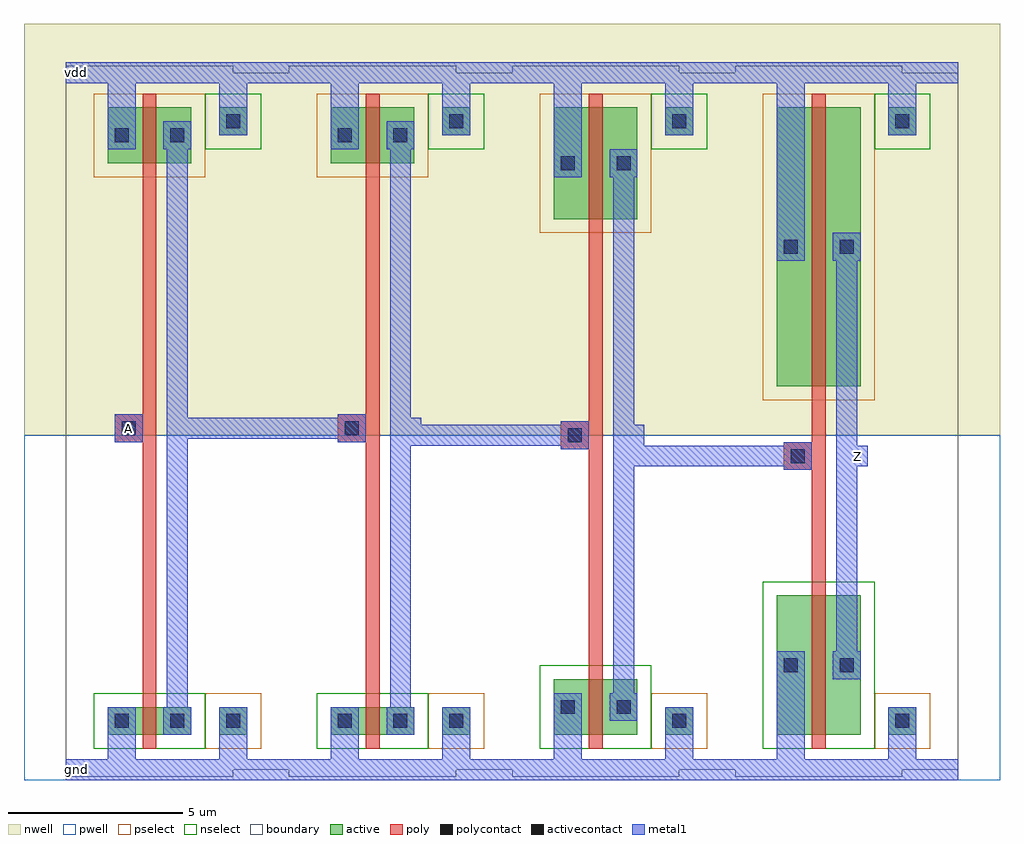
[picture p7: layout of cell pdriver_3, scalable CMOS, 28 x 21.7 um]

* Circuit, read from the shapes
.subckt pdriver_3 A Z gnd vdd
M1 pinv_4_1/A A gnd gnd nfet w=0.8u l=0.4u
M2 pinv_2_2/A pinv_4_1/A gnd gnd nfet w=0.8u l=0.4u
M3 pinv_5_3/A pinv_2_2/A gnd gnd nfet w=1.6u l=0.4u
M4 Z pinv_5_3/A gnd gnd nfet w=4u l=0.4u
M5 pinv_4_1/A A vdd vdd pfet w=1.6u l=0.4u
M6 pinv_2_2/A pinv_4_1/A vdd vdd pfet w=1.6u l=0.4u
M7 pinv_5_3/A pinv_2_2/A vdd vdd pfet w=3.2u l=0.4u
M8 Z pinv_5_3/A vdd vdd pfet w=8u l=0.4u
.ends

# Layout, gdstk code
import gdstk
lib = gdstk.Library(unit=1e-6, precision=1e-09)
def R(c, l, rs):  # rectangles x0, y0, x1, y1
    for r in rs: c.add(gdstk.rectangle(r[:2], r[2:], *l))
pwell = (41, 0)
nwell = (42, 0)
active = (43, 0)
pselect = (44, 0)
nselect = (45, 0)
poly = (46, 0)
polycontact = (47, 0)
activecontact = (48, 0)
metal1 = (49, 0)
boundary = (63, 0)

contact_11 = lib.new_cell('contact_11')
R(contact_11, nwell, [(-1.2,-1.2,2,2)])
R(contact_11, active, [(0,0,0.8,0.8)])
R(contact_11, pselect, [(-0.4,-0.4,1.2,1.2)])
R(contact_11, activecontact, [(0.2,0.2,0.6,0.6)])
R(contact_11, metal1, [(0,0,0.8,0.8)])

pmos_m1_w1_600_a_p = lib.new_cell('pmos_m1_w1_600_a_p')
R(pmos_m1_w1_600_a_p, nwell, [(-1.2,-1.2,3.6,2.8)])
R(pmos_m1_w1_600_a_p, active, [(0,0,2.4,1.6)])
R(pmos_m1_w1_600_a_p, pselect, [(-0.4,-0.4,2.8,2)])
R(pmos_m1_w1_600_a_p, poly, [(1,-0.4,1.4,2), (1,-0.4,1.4,2)])
R(pmos_m1_w1_600_a_p, metal1, [(0,0.4,0.8,1.2), (1.6,0.4,2.4,1.2)])
R(pmos_m1_w1_600_a_p, boundary, [(-1.2,-1.2,3.6,2.8)])
pmos_m1_w1_600_a_p.add(gdstk.Reference(contact_11, (0,0.4)))
pmos_m1_w1_600_a_p.add(gdstk.Reference(contact_11, (1.6,0.4)))
pmos_m1_w1_600_a_p.add(gdstk.Label('G', (1.2,0.8), layer=46, texttype=0))
pmos_m1_w1_600_a_p.add(gdstk.Label('S', (0.4,0.8), layer=49, texttype=0))
pmos_m1_w1_600_a_p.add(gdstk.Label('D', (2,0.8), layer=49, texttype=0))

contact_16 = lib.new_cell('contact_16')
R(contact_16, pwell, [(-1.2,-1.2,2,2)])
R(contact_16, active, [(0,0,0.8,0.8)])
R(contact_16, nselect, [(-0.4,-0.4,1.2,1.2)])
R(contact_16, activecontact, [(0.2,0.2,0.6,0.6)])
R(contact_16, metal1, [(0,0,0.8,0.8)])

nmos_m1_w0_800_a_p = lib.new_cell('nmos_m1_w0_800_a_p')
R(nmos_m1_w0_800_a_p, pwell, [(-1.2,-1.2,3.6,2)])
R(nmos_m1_w0_800_a_p, active, [(0,0,2.4,0.8)])
R(nmos_m1_w0_800_a_p, nselect, [(-0.4,-0.4,2.8,1.2)])
R(nmos_m1_w0_800_a_p, poly, [(1,-0.4,1.4,1.2), (1,-0.4,1.4,1.2)])
R(nmos_m1_w0_800_a_p, metal1, [(0,0,0.8,0.8), (1.6,0,2.4,0.8)])
R(nmos_m1_w0_800_a_p, boundary, [(-1.2,-1.2,3.6,2)])
nmos_m1_w0_800_a_p.add(gdstk.Reference(contact_16, (0,0)))
nmos_m1_w0_800_a_p.add(gdstk.Reference(contact_16, (1.6,0)))
nmos_m1_w0_800_a_p.add(gdstk.Label('G', (1.2,0.4), layer=46, texttype=0))
nmos_m1_w0_800_a_p.add(gdstk.Label('S', (0.4,0.4), layer=49, texttype=0))
nmos_m1_w0_800_a_p.add(gdstk.Label('D', (2,0.4), layer=49, texttype=0))

contact_13 = lib.new_cell('contact_13')
R(contact_13, nwell, [(-1.2,-1.2,2,2)])
R(contact_13, active, [(0,0,0.8,0.8)])
R(contact_13, nselect, [(-0.4,-0.4,1.2,1.2)])
R(contact_13, activecontact, [(0.2,0.2,0.6,0.6)])
R(contact_13, metal1, [(0,0,0.8,0.8)])

contact_17 = lib.new_cell('contact_17')
R(contact_17, pwell, [(-1.2,-1.2,2,2)])
R(contact_17, active, [(0,0,0.8,0.8)])
R(contact_17, pselect, [(-0.4,-0.4,1.2,1.2)])
R(contact_17, activecontact, [(0.2,0.2,0.6,0.6)])
R(contact_17, metal1, [(0,0,0.8,0.8)])

contact_12 = lib.new_cell('contact_12')
R(contact_12, poly, [(0,0,0.8,0.8)])
R(contact_12, polycontact, [(0.2,0.2,0.6,0.6)])
R(contact_12, metal1, [(0,0,0.8,0.8)])

pinv_4 = lib.new_cell('pinv_4')
R(pinv_4, pwell, [(-1.2,-0.3,7.6,9.6)])
R(pinv_4, nwell, [(-1.2,9.6,7.6,21.4)])
R(pinv_4, poly, [(2.2,2.2,2.6,17), (1.8,9.4,2.2,10.2)])
R(pinv_4, metal1, [(0,-0.3,6.4,0.3), (1.2,-0.3,2,1), (4.4,0,5.2,1.4), (2.9,1,3.5,18.6), (1.4,9.4,2.2,10.2), (3.2,9.5,3.8,10.1), (1.2,17.8,2,20.3), (4.4,18.6,5.2,20), (0,19.7,6.4,20.3)])
R(pinv_4, boundary, [(0,0,6.4,20)])
pinv_4.add(gdstk.Reference(pmos_m1_w1_600_a_p, (1.2,17.4)))
pinv_4.add(gdstk.Reference(nmos_m1_w0_800_a_p, (1.2,1)))
pinv_4.add(gdstk.Reference(contact_13, (4.4,18.2)))
pinv_4.add(gdstk.Reference(contact_17, (4.4,1)))
pinv_4.add(gdstk.Reference(contact_12, (1.4,9.4)))
pinv_4.add(gdstk.Label('gnd', (3.2,0), layer=49, texttype=0))
pinv_4.add(gdstk.Label('vdd', (3.2,20), layer=49, texttype=0))
pinv_4.add(gdstk.Label('A', (1.8,9.8), layer=49, texttype=0))
pinv_4.add(gdstk.Label('Z', (3.5,9.8), layer=49, texttype=0))

pmos_m1_w3_200_a_p = lib.new_cell('pmos_m1_w3_200_a_p')
R(pmos_m1_w3_200_a_p, nwell, [(-1.2,-1.2,3.6,4.4)])
R(pmos_m1_w3_200_a_p, active, [(0,0,2.4,3.2)])
R(pmos_m1_w3_200_a_p, pselect, [(-0.4,-0.4,2.8,3.6)])
R(pmos_m1_w3_200_a_p, poly, [(1,-0.4,1.4,3.6), (1,-0.4,1.4,3.6)])
R(pmos_m1_w3_200_a_p, metal1, [(0,1.2,0.8,2), (1.6,1.2,2.4,2)])
R(pmos_m1_w3_200_a_p, boundary, [(-1.2,-1.2,3.6,4.4)])
pmos_m1_w3_200_a_p.add(gdstk.Reference(contact_11, (0,1.2)))
pmos_m1_w3_200_a_p.add(gdstk.Reference(contact_11, (1.6,1.2)))
pmos_m1_w3_200_a_p.add(gdstk.Label('G', (1.2,1.6), layer=46, texttype=0))
pmos_m1_w3_200_a_p.add(gdstk.Label('S', (0.4,1.6), layer=49, texttype=0))
pmos_m1_w3_200_a_p.add(gdstk.Label('D', (2,1.6), layer=49, texttype=0))

nmos_m1_w1_600_a_p = lib.new_cell('nmos_m1_w1_600_a_p')
R(nmos_m1_w1_600_a_p, pwell, [(-1.2,-1.2,3.6,2.8)])
R(nmos_m1_w1_600_a_p, active, [(0,0,2.4,1.6)])
R(nmos_m1_w1_600_a_p, nselect, [(-0.4,-0.4,2.8,2)])
R(nmos_m1_w1_600_a_p, poly, [(1,-0.4,1.4,2), (1,-0.4,1.4,2)])
R(nmos_m1_w1_600_a_p, metal1, [(0,0.4,0.8,1.2), (1.6,0.4,2.4,1.2)])
R(nmos_m1_w1_600_a_p, boundary, [(-1.2,-1.2,3.6,2.8)])
nmos_m1_w1_600_a_p.add(gdstk.Reference(contact_16, (0,0.4)))
nmos_m1_w1_600_a_p.add(gdstk.Reference(contact_16, (1.6,0.4)))
nmos_m1_w1_600_a_p.add(gdstk.Label('G', (1.2,0.8), layer=46, texttype=0))
nmos_m1_w1_600_a_p.add(gdstk.Label('S', (0.4,0.8), layer=49, texttype=0))
nmos_m1_w1_600_a_p.add(gdstk.Label('D', (2,0.8), layer=49, texttype=0))

pinv_2 = lib.new_cell('pinv_2')
R(pinv_2, pwell, [(-1.2,-0.3,7.6,9.6)])
R(pinv_2, nwell, [(-1.2,9.6,7.6,21.4)])
R(pinv_2, poly, [(2.2,3,2.6,15.4), (1.8,9.2,2.2,10)])
R(pinv_2, metal1, [(0,-0.3,6.4,0.3), (1.2,-0.3,2,1.4), (4.4,0,5.2,1.4), (2.9,1.4,3.5,17.8), (1.4,9.2,2.2,10), (3.2,9.3,3.8,9.9), (1.2,17,2,20.3), (4.4,18.6,5.2,20), (0,19.7,6.4,20.3)])
R(pinv_2, boundary, [(0,0,6.4,20)])
pinv_2.add(gdstk.Reference(pmos_m1_w3_200_a_p, (1.2,15.8)))
pinv_2.add(gdstk.Reference(nmos_m1_w1_600_a_p, (1.2,1)))
pinv_2.add(gdstk.Reference(contact_13, (4.4,18.2)))
pinv_2.add(gdstk.Reference(contact_17, (4.4,1)))
pinv_2.add(gdstk.Reference(contact_12, (1.4,9.2)))
pinv_2.add(gdstk.Label('gnd', (3.2,0), layer=49, texttype=0))
pinv_2.add(gdstk.Label('vdd', (3.2,20), layer=49, texttype=0))
pinv_2.add(gdstk.Label('A', (1.8,9.6), layer=49, texttype=0))
pinv_2.add(gdstk.Label('Z', (3.5,9.6), layer=49, texttype=0))

pmos_m1_w8_000_a_p = lib.new_cell('pmos_m1_w8_000_a_p')
R(pmos_m1_w8_000_a_p, nwell, [(-1.2,-1.2,3.6,9.2)])
R(pmos_m1_w8_000_a_p, active, [(0,0,2.4,8)])
R(pmos_m1_w8_000_a_p, pselect, [(-0.4,-0.4,2.8,8.4)])
R(pmos_m1_w8_000_a_p, poly, [(1,-0.4,1.4,8.4), (1,-0.4,1.4,8.4)])
R(pmos_m1_w8_000_a_p, metal1, [(0,3.6,0.8,4.4), (1.6,3.6,2.4,4.4)])
R(pmos_m1_w8_000_a_p, boundary, [(-1.2,-1.2,3.6,9.2)])
pmos_m1_w8_000_a_p.add(gdstk.Reference(contact_11, (0,3.6)))
pmos_m1_w8_000_a_p.add(gdstk.Reference(contact_11, (1.6,3.6)))
pmos_m1_w8_000_a_p.add(gdstk.Label('G', (1.2,4), layer=46, texttype=0))
pmos_m1_w8_000_a_p.add(gdstk.Label('S', (0.4,4), layer=49, texttype=0))
pmos_m1_w8_000_a_p.add(gdstk.Label('D', (2,4), layer=49, texttype=0))

nmos_m1_w4_000_a_p = lib.new_cell('nmos_m1_w4_000_a_p')
R(nmos_m1_w4_000_a_p, pwell, [(-1.2,-1.2,3.6,5.2)])
R(nmos_m1_w4_000_a_p, active, [(0,0,2.4,4)])
R(nmos_m1_w4_000_a_p, nselect, [(-0.4,-0.4,2.8,4.4)])
R(nmos_m1_w4_000_a_p, poly, [(1,-0.4,1.4,4.4), (1,-0.4,1.4,4.4)])
R(nmos_m1_w4_000_a_p, metal1, [(0,1.6,0.8,2.4), (1.6,1.6,2.4,2.4)])
R(nmos_m1_w4_000_a_p, boundary, [(-1.2,-1.2,3.6,5.2)])
nmos_m1_w4_000_a_p.add(gdstk.Reference(contact_16, (0,1.6)))
nmos_m1_w4_000_a_p.add(gdstk.Reference(contact_16, (1.6,1.6)))
nmos_m1_w4_000_a_p.add(gdstk.Label('G', (1.2,2), layer=46, texttype=0))
nmos_m1_w4_000_a_p.add(gdstk.Label('S', (0.4,2), layer=49, texttype=0))
nmos_m1_w4_000_a_p.add(gdstk.Label('D', (2,2), layer=49, texttype=0))

pinv_5 = lib.new_cell('pinv_5')
R(pinv_5, pwell, [(-1.2,-0.3,7.6,9.6)])
R(pinv_5, nwell, [(-1.2,9.6,7.6,21.4)])
R(pinv_5, poly, [(2.2,5.4,2.6,10.6), (1.8,8.6,2.2,9.4)])
R(pinv_5, metal1, [(0,-0.3,6.4,0.3), (1.2,-0.3,2,2.6), (4.4,0,5.2,1.4), (2.9,2.6,3.5,15.4), (1.4,8.6,2.2,9.4), (3.2,8.7,3.8,9.3), (1.2,14.6,2,20.3), (4.4,18.6,5.2,20), (0,19.7,6.4,20.3)])
R(pinv_5, boundary, [(0,0,6.4,20)])
pinv_5.add(gdstk.Reference(pmos_m1_w8_000_a_p, (1.2,11)))
pinv_5.add(gdstk.Reference(nmos_m1_w4_000_a_p, (1.2,1)))
pinv_5.add(gdstk.Reference(contact_13, (4.4,18.2)))
pinv_5.add(gdstk.Reference(contact_17, (4.4,1)))
pinv_5.add(gdstk.Reference(contact_12, (1.4,8.6)))
pinv_5.add(gdstk.Label('gnd', (3.2,0), layer=49, texttype=0))
pinv_5.add(gdstk.Label('vdd', (3.2,20), layer=49, texttype=0))
pinv_5.add(gdstk.Label('A', (1.8,9), layer=49, texttype=0))
pinv_5.add(gdstk.Label('Z', (3.5,9), layer=49, texttype=0))

pdriver_3 = lib.new_cell('pdriver_3')
R(pdriver_3, metal1, [(0,-0.3,0.6,0.3), (16,8.7,16.6,9.3), (16.3,8.7,21,9.3), (22.4,8.7,23,9.3), (16,9,16.6,9.6), (9.6,9.3,10.2,9.9), (9.9,9.3,14.6,9.9), (1.4,9.4,2.2,10.2), (3.5,9.5,8.2,10.1), (9.6,9.6,10.2,9.8), (0,19.7,0.6,20.3)])
R(pdriver_3, boundary, [(0,0,25.6,20)])
pdriver_3.add(gdstk.Reference(pinv_4, (0,0)))
pdriver_3.add(gdstk.Reference(pinv_4, (6.4,0)))
pdriver_3.add(gdstk.Reference(pinv_2, (12.8,0)))
pdriver_3.add(gdstk.Reference(pinv_5, (19.2,0)))
pdriver_3.add(gdstk.Label('vdd', (0.3,20), layer=49, texttype=0))
pdriver_3.add(gdstk.Label('gnd', (0.3,0), layer=49, texttype=0))
pdriver_3.add(gdstk.Label('Z', (22.7,9), layer=49, texttype=0))
pdriver_3.add(gdstk.Label('A', (1.8,9.8), layer=49, texttype=0))

lib.write_gds('pdriver_3.gds')
